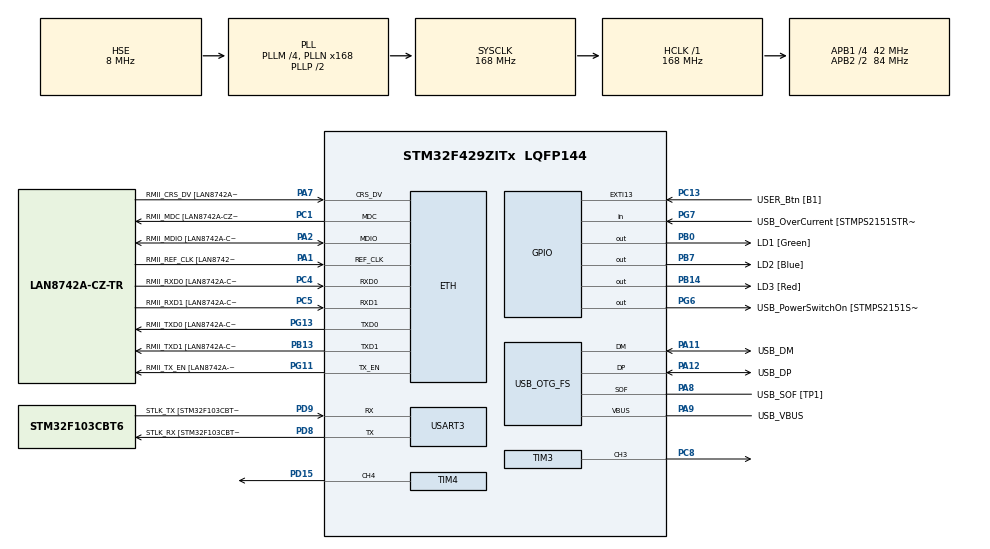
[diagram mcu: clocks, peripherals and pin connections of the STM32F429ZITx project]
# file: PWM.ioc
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ETH.MediaInterface=HAL_ETH_RMII_MODE
ETH.PHY_Name=LAN8742A_PHY_ADDRESS
ETH.PHY_Value=0
ETH.PhyAddress=0
Mcu.Family=STM32F4
Mcu.Name=STM32F429ZITx
Mcu.Package=LQFP144
NVIC.PriorityGroup=NVIC_PRIORITYGROUP_4
NVIC.TIM3_IRQn=true\:0\:0\:false\:true\:true\:1\:true\:true\:true
NVIC.TIM4_IRQn=true\:0\:0\:false\:true\:true\:2\:true\:true\:true
PA1.GPIO_Label=RMII_REF_CLK [LAN8742A-CZ-TR_REFCLK0]
PA1.Mode=RMII
PA1.Signal=ETH_REF_CLK
PA10.GPIO_Label=USB_ID
PA10.Signal=USB_OTG_FS_ID
PA11.GPIO_Label=USB_DM
PA11.Mode=Device_Only
PA11.Signal=USB_OTG_FS_DM
PA12.GPIO_Label=USB_DP
PA12.Mode=Device_Only
PA12.Signal=USB_OTG_FS_DP
PA13.GPIO_Label=TMS
PA13.Mode=Serial_Wire
PA13.Signal=SYS_JTMS-SWDIO
PA14.GPIO_Label=TCK
PA14.Mode=Serial_Wire
PA14.Signal=SYS_JTCK-SWCLK
PA2.GPIO_Label=RMII_MDIO [LAN8742A-CZ-TR_MDIO]
PA2.Mode=RMII
PA2.Signal=ETH_MDIO
PA7.GPIO_Label=RMII_CRS_DV [LAN8742A-CZ-TR_CRS_DV]
PA7.Mode=RMII
PA7.Signal=ETH_CRS_DV
PA8.GPIO_Label=USB_SOF [TP1]
PA8.Mode=Activate_SOF_FS
PA8.Signal=USB_OTG_FS_SOF
PA9.GPIO_Label=USB_VBUS
PA9.Mode=Activate_VBUS
PA9.Signal=USB_OTG_FS_VBUS
PB0.GPIO_Label=LD1 [Green]
PB0.Signal=GPIO_Output
PB13.GPIO_Label=RMII_TXD1 [LAN8742A-CZ-TR_TXD1]
PB13.Mode=RMII
PB13.Signal=ETH_TXD1
PB14.GPIO_Label=LD3 [Red]
PB14.Signal=GPIO_Output
PB7.GPIO_Label=LD2 [Blue]
PB7.Signal=GPIO_Output
PC1.GPIO_Label=RMII_MDC [LAN8742A-CZ-TR_MDC]
PC1.Mode=RMII
PC1.Signal=ETH_MDC
PC13.GPIO_Label=USER_Btn [B1]
PC13.Signal=GPXTI13
PC14/OSC32_IN.Mode=LSE-External-Oscillator
PC14/OSC32_IN.Signal=RCC_OSC32_IN
PC15/OSC32_OUT.Mode=LSE-External-Oscillator
PC15/OSC32_OUT.Signal=RCC_OSC32_OUT
PC4.GPIO_Label=RMII_RXD0 [LAN8742A-CZ-TR_RXD0]
PC4.Mode=RMII
PC4.Signal=ETH_RXD0
PC5.GPIO_Label=RMII_RXD1 [LAN8742A-CZ-TR_RXD1]
PC5.Mode=RMII
PC5.Signal=ETH_RXD1
PC8.Signal=S_TIM3_CH3
PD15.Signal=S_TIM4_CH4
PD8.GPIO_Label=STLK_RX [STM32F103CBT6_PA3]
PD8.Mode=Asynchronous
PD8.Signal=USART3_TX
PD9.GPIO_Label=STLK_TX [STM32F103CBT6_PA2]
PD9.Mode=Asynchronous
PD9.Signal=USART3_RX
PG11.GPIO_Label=RMII_TX_EN [LAN8742A-CZ-TR_TXEN]
PG11.Mode=RMII
PG11.Signal=ETH_TX_EN
PG13.GPIO_Label=RMII_TXD0 [LAN8742A-CZ-TR_TXD0]
PG13.Mode=RMII
PG13.Signal=ETH_TXD0
PG6.GPIO_Label=USB_PowerSwitchOn [STMPS2151STR_EN]
PG6.Signal=GPIO_Output
PG7.GPIO_Label=USB_OverCurrent [STMPS2151STR_FAULT]
PG7.Signal=GPIO_Input
PH0/OSC_IN.GPIO_Label=MCO [STM32F103CBT6_PA8]
PH0/OSC_IN.Mode=HSE-External-Clock-Source
PH0/OSC_IN.Signal=RCC_OSC_IN
PH1/OSC_OUT.Mode=HSE-External-Clock-Source
PH1/OSC_OUT.Signal=RCC_OSC_OUT
ProjectManager.HeapSize=0x200
ProjectManager.StackSize=0x400
ProjectManager.TargetToolchain=STM32CubeIDE
RCC.48MHZClocksFreq_Value=48000000
RCC.AHBFreq_Value=168000000
RCC.APB1CLKDivider=RCC_HCLK_DIV4
RCC.APB1Freq_Value=42000000
RCC.APB1TimFreq_Value=84000000
RCC.APB2CLKDivider=RCC_HCLK_DIV2
RCC.APB2Freq_Value=84000000
RCC.APB2TimCLKDivider=2
RCC.APB2TimFreq_Value=168000000
RCC.CortexFreq_Value=168000000
RCC.HCLKFreq_Value=168000000
RCC.HSE_VALUE=8000000
RCC.HSI_VALUE=16000000
RCC.PLLM=4
RCC.PLLMUL=RCC_PLL_MUL9
RCC.PLLN=168
RCC.PLLQ=7
RCC.PRESCALERUSB=RCC_USBCLKSOURCE_PLL_DIV1_5
RCC.SYSCLKFreq_VALUE=168000000
RCC.SYSCLKSource=RCC_SYSCLKSOURCE_PLLCLK
RCC.SYSCLKSourceVirtual=RCC_SYSCLKSOURCE_PLLCLK
RCC.USBFreq_Value=48000000
RCC.VCOOutputFreq_Value=336000000
SH.S_TIM3_CH3.0=TIM3_CH3,PWM Generation3 CH3
SH.S_TIM4_CH4.0=TIM4_CH4,PWM Generation4 CH4
TIM3.AutoReloadPreload=TIM_AUTORELOAD_PRELOAD_DISABLE
TIM3.Channel-PWM\ Generation3\ CH3=TIM_CHANNEL_3
TIM3.Period=100-1
TIM3.Prescaler=8400-1
TIM3.Pulse-PWM\ Generation3\ CH3=50-1
TIM4.Channel-PWM\ Generation4\ CH4=TIM_CHANNEL_4
TIM4.Period=100-1
TIM4.Prescaler=8400-1
TIM4.Pulse-PWM\ Generation4\ CH4=50-1
USART3.VirtualMode=VM_ASYNC
USB_OTG_FS.VirtualMode=Device_Only
VP_TIM3_VS_ClockSourceINT.Mode=Internal
VP_TIM4_VS_ClockSourceINT.Mode=Internal
board=NUCLEO-F429ZI

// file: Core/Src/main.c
/* USER CODE BEGIN Header */
/**
  ******************************************************************************
  * @file           : main.c
  * @brief          : Main program body
  ******************************************************************************
  * @attention
  *
  * Copyright (c) 2023 STMicroelectronics.
  * All rights reserved.
  *
  * This software is licensed under terms that can be found in the LICENSE file
  * in the root directory of this software component.
  * If no LICENSE file comes with this software, it is provided AS-IS.
  *
  ******************************************************************************
  */
/* USER CODE END Header */
#include "main.h"
#include "eth.h"
#include "tim.h"
#include "usart.h"
#include "usb_otg.h"
#include "gpio.h"

void SystemClock_Config(void);
static void MX_NVIC_Init(void);

int main(void)
{

  /* MCU Configuration--------------------------------------------------------*/

  /* Reset of all peripherals, Initializes the Flash interface and the Systick. */
  HAL_Init();

  /* Configure the system clock */
  SystemClock_Config();

  /* Initialize all configured peripherals */
  MX_GPIO_Init();
  MX_ETH_Init();
  MX_USART3_UART_Init();
  MX_USB_OTG_FS_PCD_Init();
  MX_TIM3_Init();
  MX_TIM4_Init();

  /* Initialize interrupts */
  MX_NVIC_Init();
  /* USER CODE BEGIN 2 */
  HAL_TIM_PWM_Start(&htim3, TIM_CHANNEL_3);
  HAL_TIM_PWM_Start(&htim4, TIM_CHANNEL_4);

  // 음계를 재생하기 위한 배열
  uint16_t notes[] = {26163, 29366, 32963, 34923, 39200, 44000, 49388, 52325};
  uint8_t noteDurations[] = {4, 4, 3, 4, 4, 3, 4, 4, 4, 4, 2, 4, 4, 4, 4, 4, 4, 4, 4, 4, 4, 4, 4, 2, 4, 4, 5, 5, 4, 4, 3, 4, 5, 4, 4, 2, 4, 4, 4, 4, 4, 4, 4, 4, 4, 4, 4, 4, 1};

  // 노래 "자전거 동요" 음계 배열
  uint8_t song[] = {3, 5, 5, 3, 5, 5, 6, 6, 6, 6, 6, 5, 5, 5, 5, 4, 4, 4, 4, 3, 3, 3, 3, 3, 3, 5, 5, 5, 3, 5, 5, 6, 6, 3, 3, 5, 4, 4, 4, 4, 3, 3, 3, 3, 2, 2, 5, 5, 1};

  void playNote(uint16_t frequency, uint16_t duration)
  {
      if (frequency > 0)
      {
          // 주파수 설정
          TIM4->ARR = 1000000 / frequency;
          TIM4->CCR4 = TIM4->ARR / 2; // 50% 듀티 사이클
      }
      else
      {
          // 0 주파수로 설정하여 소리 중지
          TIM4->ARR = 0;
          TIM4->CCR4 = 0;
      }

      HAL_Delay(duration);
  }

  uint8_t songLength = sizeof(song) / sizeof(song[0]);
  uint8_t songPosition = 0;
  /* USER CODE END 2 */

  /* Infinite loop */
  /* USER CODE BEGIN WHILE */
  while (1)
  {
	  uint8_t note = song[songPosition];
	  if (note > 0)
	  {
		  uint16_t frequency = notes[note - 1];
		  uint16_t duration = noteDurations[songPosition];
		  playNote(frequency, duration);
	  }
	  else
	  {
		  playNote(0, 300); // 소리 중지
	  }

	  // 다음 음표로 이동
	  songPosition = (songPosition + 1) % songLength;

//	  HAL_Delay(300); // 각 음표 간 간격 (조절 가능)

    /* USER CODE END WHILE */

  }
}

void SystemClock_Config(void)
{
  RCC_OscInitTypeDef RCC_OscInitStruct = {0};
  RCC_ClkInitTypeDef RCC_ClkInitStruct = {0};

  /** Configure the main internal regulator output voltage
  */
  __HAL_RCC_PWR_CLK_ENABLE();
  __HAL_PWR_VOLTAGESCALING_CONFIG(PWR_REGULATOR_VOLTAGE_SCALE1);

  /** Initializes the RCC Oscillators according to the specified parameters
  * in the RCC_OscInitTypeDef structure.
  */
  RCC_OscInitStruct.OscillatorType = RCC_OSCILLATORTYPE_HSE;
  RCC_OscInitStruct.HSEState = RCC_HSE_BYPASS;
  RCC_OscInitStruct.PLL.PLLState = RCC_PLL_ON;
  RCC_OscInitStruct.PLL.PLLSource = RCC_PLLSOURCE_HSE;
  RCC_OscInitStruct.PLL.PLLM = 4;
  RCC_OscInitStruct.PLL.PLLN = 168;
  RCC_OscInitStruct.PLL.PLLP = RCC_PLLP_DIV2;
  RCC_OscInitStruct.PLL.PLLQ = 7;
  if (HAL_RCC_OscConfig(&RCC_OscInitStruct) != HAL_OK)
  {
    Error_Handler();
  }

  /** Initializes the CPU, AHB and APB buses clocks
  */
  RCC_ClkInitStruct.ClockType = RCC_CLOCKTYPE_HCLK|RCC_CLOCKTYPE_SYSCLK
                              |RCC_CLOCKTYPE_PCLK1|RCC_CLOCKTYPE_PCLK2;
  RCC_ClkInitStruct.SYSCLKSource = RCC_SYSCLKSOURCE_PLLCLK;
  RCC_ClkInitStruct.AHBCLKDivider = RCC_SYSCLK_DIV1;
  RCC_ClkInitStruct.APB1CLKDivider = RCC_HCLK_DIV4;
  RCC_ClkInitStruct.APB2CLKDivider = RCC_HCLK_DIV2;

  if (HAL_RCC_ClockConfig(&RCC_ClkInitStruct, FLASH_LATENCY_5) != HAL_OK)
  {
    Error_Handler();
  }
}

/**
  * @brief NVIC Configuration.
  * @retval None
  */
static void MX_NVIC_Init(void)
{
  /* TIM3_IRQn interrupt configuration */
  HAL_NVIC_SetPriority(TIM3_IRQn, 0, 0);
  HAL_NVIC_EnableIRQ(TIM3_IRQn);
  /* TIM4_IRQn interrupt configuration */
  HAL_NVIC_SetPriority(TIM4_IRQn, 0, 0);
  HAL_NVIC_EnableIRQ(TIM4_IRQn);
}

void Error_Handler(void)
{
  __disable_irq();
  while (1)
  {
  }
}
